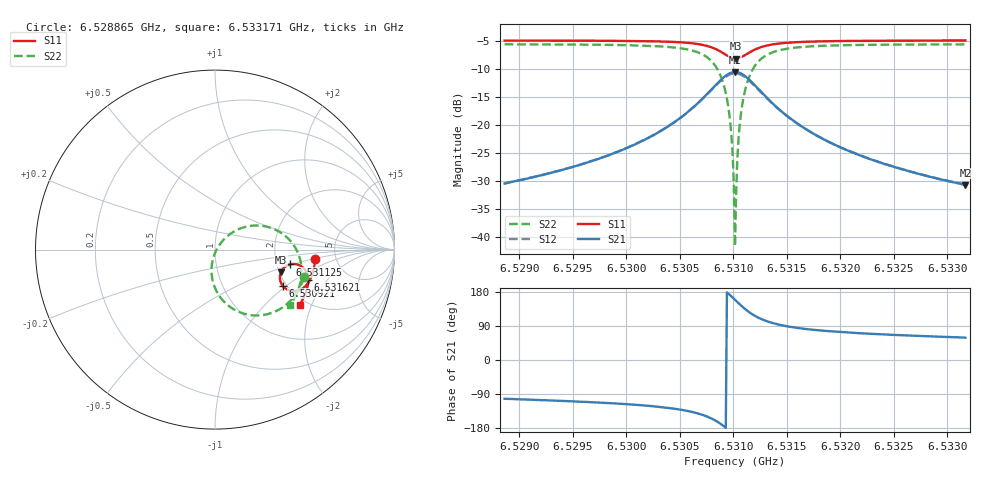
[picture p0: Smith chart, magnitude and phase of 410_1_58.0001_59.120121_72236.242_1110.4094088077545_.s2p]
#  HZ  S  RI  R  50.00
! Rohde & Schwarz Vector Network Analyzer
! Rohde-Schwarz,ZNB20-2Port,1311601062101988,3.16
! Created: UTC 3/21/2024, 1:08:42 AM
! freq[Hz]  re:S11  im:S11  re:S21  im:S21  re:S12  im:S12  re:S22  im:S22
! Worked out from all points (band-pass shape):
!   401 points, 6.528865 GHz to 6.533171 GHz, reference 50 ohm
!   highest |S21| = -10.60 dB at 6.531018 GHz (marker M1); lowest = -30.7 dB at 6.533171 GHz (marker M2)
!   |S21| within 3 dB of the highest: 6.530804 GHz to 6.531234 GHz (430.7 kHz wide, 0.00659 % of centre)
!   lowest |S11| = -8.2 dB at 6.531029 GHz (marker M3), VSWR 2.27, Z = 102 - j30.3 ohm
!   |S11| at or under -10 dB: nowhere
!   |S22| runs from -41.7 to -5.7 dB; largest |S21 - S12| = 0.011
!   S11 on the Smith chart (normalised r, x): 6.528865 GHz: 3.47, -0.52; 6.530921 GHz: 1.91, -0.93; 6.531125 GHz: 2.36, -0.48; 6.531621 GHz: 2.71, -1.29; 6.533171 GHz: 1.82, -1.65
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6.5288645e9  0.5588 -0.0514  -0.00643 -0.0291  -0.00702 -0.0292  0.4969 -0.1542
6.5295859e9  0.5491 -0.1109  -0.0155 -0.0417  -0.0163 -0.0414  0.4677 -0.2203
6.5303072e9  0.5216 -0.181  -0.0476 -0.0718  -0.0495 -0.0704  0.3896 -0.3125
6.5307379e9  0.4532 -0.2308  -0.151 -0.0974  -0.1534 -0.0915  0.1902 -0.3637
6.5308455e9  0.4101 -0.2264  -0.218 -0.0727  -0.2176 -0.0639  0.0753 -0.3127
6.5309209e9  0.3764 -0.2005  -0.2679 -0.0168  -0.2629 -0.00751  -0.00131 -0.2109
6.530964e9  0.3639 -0.174  -0.2838 0.0339  -0.2758 0.0416  -0.0195 -0.1237
6.5309855e9  0.3616 -0.1584  -0.2846 0.0627  -0.2755 0.069  -0.0165 -0.076
6.5309963e9  0.3616 -0.1502  -0.2829 0.0776  -0.2734 0.083  -0.0114 -0.0519
6.531007e9  0.3627 -0.1421  -0.2799 0.0922  -0.2699 0.0968  -0.00372 -0.0284
6.5310178e9  0.3646 -0.1342  -0.2753 0.1066  -0.2651 0.1101  0.00604 -0.00564
6.5310286e9  0.3673 -0.1263  -0.2691 0.1204  -0.259 0.1231  0.0181 0.0161
6.5310393e9  0.3709 -0.1189  -0.2617 0.1336  -0.2518 0.1353  0.0323 0.0365
6.5310609e9  0.3801 -0.1057  -0.2439 0.1569  -0.2342 0.1569  0.0656 0.0721
6.5310716e9  0.3855 -0.1001  -0.2334 0.167  -0.2242 0.1663  0.0842 0.0869
6.5311255e9  0.4173 -0.0825  -0.1754 0.1985  -0.169 0.1957  0.1851 0.1303
6.5311901e9  0.4534 -0.0815  -0.1116 0.2027  -0.108 0.1998  0.2929 0.1266
6.531287e9  0.4893 -0.0997  -0.0491 0.1785  -0.0473 0.1766  0.3959 0.0724
6.5316207e9  0.5192 -0.1667  0.0105 0.0988  0.0116 0.0984  0.4814 -0.0932
6.5317392e9  0.519 -0.1837  0.0146 0.083  0.0157 0.0829  0.4828 -0.1283
6.5324605e9  0.4991 -0.2557  0.0171 0.0397  0.0178 0.0396  0.4554 -0.2443
6.5331711e9  0.4715 -0.308  0.0151 0.0249  0.0156 0.0247  0.4204 -0.306
